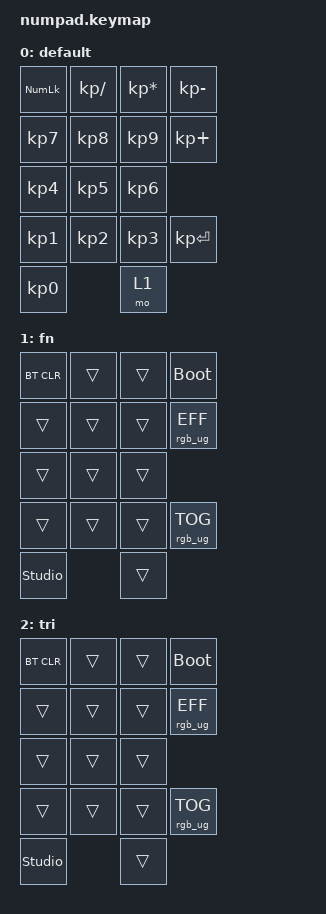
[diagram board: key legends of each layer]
/*
 * Copyright (c) 2020 The ZMK Contributors
 *
 * SPDX-License-Identifier: MIT
 */

#include <behaviors.dtsi>
#include <dt-bindings/zmk/keys.h>
#include <dt-bindings/zmk/bt.h>
#include <dt-bindings/zmk/rgb.h>

/ {
    keymap0: keymap {
        compatible = "zmk,keymap";
        
    default_layer {
        display-name = "default";
        bindings = <
                &kp KP_NUM &kp KP_SLASH &kp KP_MULTIPLY &kp KP_SUBTRACT
                &kp KP_N7  &kp KP_N8    &kp KP_N9       &kp KP_PLUS
                &kp KP_N4  &kp KP_N5    &kp KP_N6
                &kp KP_N1  &kp KP_N2    &kp KP_N3       &kp KP_ENTER
                &kp KP_N0               &mo 1
            >;
        };

    fn_layer {
        display-name = "fn";
         bindings = <
            &bt BT_CLR  &trans     &trans  &bootloader 
            &trans      &trans     &trans  &rgb_ug RGB_EFF
            &trans      &trans     &trans
            &trans      &trans     &trans  &rgb_ug RGB_TOG
            &studio_unlock         &trans
            >;
        };

    tri_layer {
        display-name = "tri";
         bindings = <
            &bt BT_CLR  &trans     &trans  &bootloader 
            &trans      &trans     &trans  &rgb_ug RGB_EFF
            &trans      &trans     &trans
            &trans      &trans     &trans  &rgb_ug RGB_TOG
            &studio_unlock         &trans
            >;
        };
    };
};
